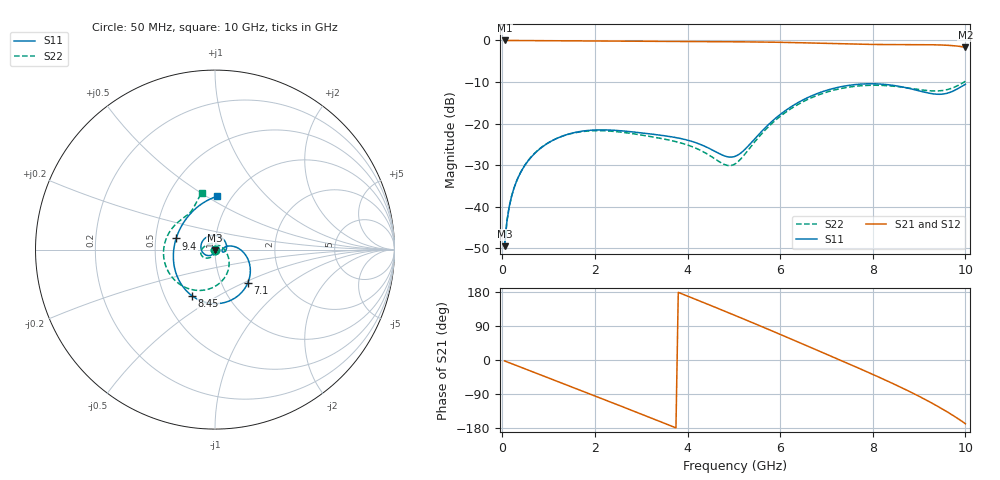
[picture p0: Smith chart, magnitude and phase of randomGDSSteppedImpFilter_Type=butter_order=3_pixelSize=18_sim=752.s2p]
! freq	dB(S11)	phase(S11)	dB(S12)	phase(S12)
!  dB(S21)	phase(S21)	dB(S22)	phase(S22)
!S-par simulation data
#  GHz  S  DB  R 50
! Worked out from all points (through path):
!   200 points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, 50 MHz to 10 GHz, reference 50 ohm
!   highest |S21| = -0.01 dB at 50 MHz (marker M1); lowest = -1.6 dB at 10 GHz (marker M2)
!   group delay of S21, straight-line fit = 142 ps
!   lowest |S11| = -49.5 dB at 50 MHz (marker M3), VSWR 1.01, Z = 50 - j0.335 ohm
!   |S11| at or under -10 dB: start of sweep to end of sweep
!   |S22| runs from -49.3 to -9.8 dB; largest |S21 - S12| = 0
!   S11 on the Smith chart (normalised r, x): 50 MHz: 1.00, -0.01; 7.1 GHz: 1.33, -0.53; 8.45 GHz: 0.69, -0.39; 9.4 GHz: 0.64, +0.08; 10 GHz: 0.86, +0.56
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0.05  -49.48 -91.7  -0.01 -2.4  -0.01 -2.4  -49.28 -88.9
0.1  -43.48 -95.0  -0.01 -4.8  -0.01 -4.8  -43.43 -91.9
0.2  -37.52 -101.0  -0.02 -9.6  -0.02 -9.6  -37.50 -96.7
0.5  -29.84 -118.8  -0.03 -23.8  -0.03 -23.8  -29.78 -108.8
1.15  -23.70 -158.3  -0.08 -54.6  -0.08 -54.6  -23.69 -133.1
1.75  -21.78 163.8  -0.12 -83.0  -0.12 -83.0  -21.90 -153.1
2.5  -21.67 111.6  -0.17 -118.7  -0.17 -118.7  -21.98 -172.7
3.4  -22.77 43.0  -0.22 -162.1  -0.22 -162.1  -23.52 170.4
4.2  -24.68 -7.3  -0.28 158.8  -0.28 158.8  -26.02 145.4
4.8  -27.78 -13.6  -0.31 129.0  -0.31 129.0  -29.85 89.7
5.05  -27.78 0.6  -0.33 116.4  -0.33 116.4  -29.52 45.7
5.45  -23.69 15.3  -0.37 96.1  -0.37 96.1  -24.41 -8.8
5.85  -19.21 8.8  -0.42 75.4  -0.42 75.4  -19.68 -40.6
6.7  -13.23 -26.3  -0.63 31.0  -0.63 31.0  -13.67 -91.2
7.1  -11.69 -45.3  -0.76 10.0  -0.76 10.0  -12.13 -113.3
7.7  -10.54 -75.1  -0.92 -21.8  -0.92 -21.8  -10.94 -146.5
8.35  -10.68 -110.2  -1.00 -57.4  -1.00 -57.4  -10.91 177.5
8.45  -10.82 -116.2  -1.00 -63.0  -1.00 -63.0  -11.00 172.0
8.95  -11.98 -151.2  -1.01 -92.7  -1.01 -92.7  -11.74 145.8
9.4  -12.95 163.9  -1.07 -122.1  -1.07 -122.1  -12.15 126.7
9.75  -12.11 119.2  -1.28 -147.6  -1.28 -147.6  -11.30 114.2
10  -10.54 87.9  -1.65 -168.1  -1.65 -168.1  -9.81 103.2
